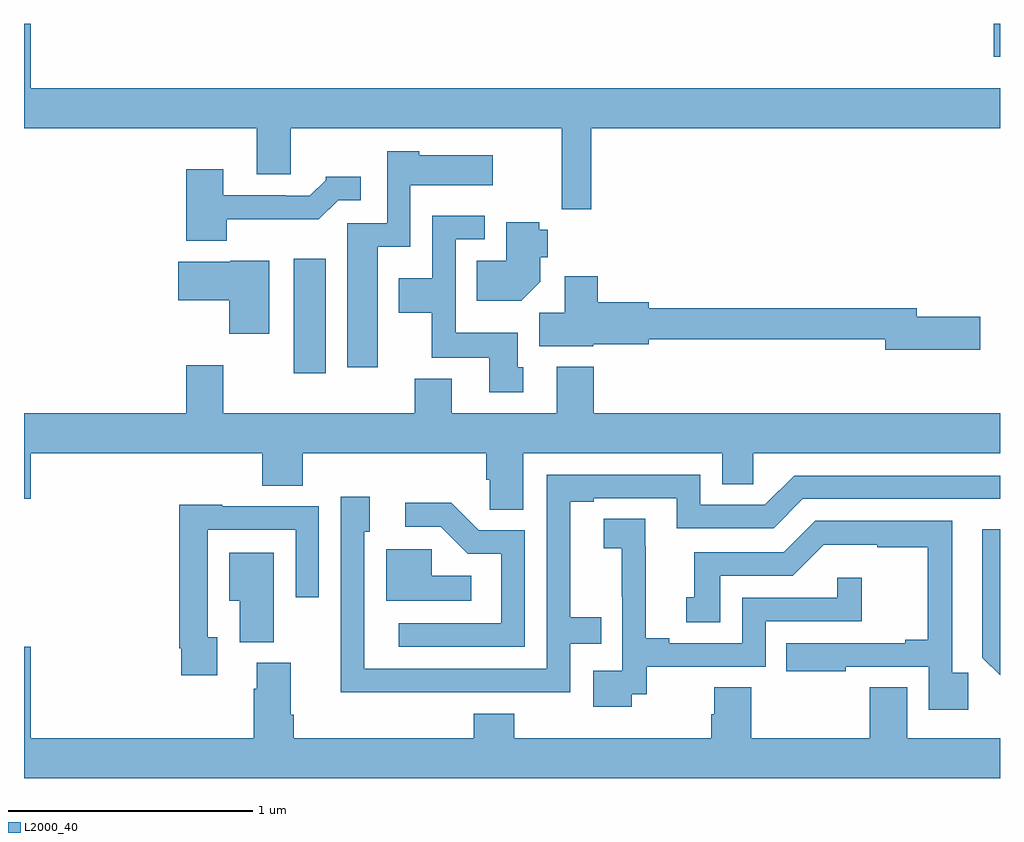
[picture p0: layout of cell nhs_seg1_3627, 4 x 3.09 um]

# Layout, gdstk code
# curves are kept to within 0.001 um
import gdstk
lib = gdstk.Library(unit=1e-6, precision=1e-09)
def R(c, l, rs):  # rectangles x0, y0, x1, y1
    for r in rs: c.add(gdstk.rectangle(r[:2], r[2:], *l))
def P(c, l, *ps):  # polygons
    for p in ps: c.add(gdstk.Polygon(p, *l))
L2000_40 = (2000, 40)

nhs_seg1_3627 = lib.new_cell('nhs_seg1_3627')
R(nhs_seg1_3627, L2000_40, [(310.106,510.768,310.237,511.237), (312.974,512.064,313,512.199)])
P(nhs_seg1_3627, L2000_40, [(311.324,511.772),(313,511.772),(313,511.936),(309.028,511.936),(309.028,512.199),(309,512.199),(309,511.772),(309.953,511.772),(309.953,511.582),(310.093,511.582),(310.093,511.772),(311.203,511.772),(311.203,511.44),(311.324,511.44)],
  [(310.45,511.286),(310.584,511.286),(310.584,511.538),(310.921,511.538),(310.921,511.66),(310.62,511.66),(310.62,511.678),(310.488,511.678),(310.488,511.383),(310.325,511.383),(310.325,510.792),(310.45,510.792)],
  [(309.83,511.398),(310.209,511.398),(310.287,511.476),(310.381,511.476),(310.381,511.573),(310.236,511.573),(310.236,511.558),(310.172,511.494),(310.073,511.494),(310.073,511.497),(309.817,511.497),(309.817,511.603),(309.665,511.603),(309.665,511.31),(309.83,511.31)],
  [(311.047,510.792),(311.023,510.792),(311.023,510.934),(310.77,510.934),(310.77,511.317),(310.888,511.317),(310.888,511.413),(310.674,511.413),(310.674,511.156),(310.535,511.156),(310.535,511.016),(310.672,511.016),(310.672,510.83),(310.907,510.83),(310.907,510.69),(311.047,510.69)],
  [(311.116,511.142),(311.116,511.242),(311.147,511.242),(311.147,511.356),(311.112,511.356),(311.112,511.386),(310.976,511.386),(310.976,511.228),(310.855,511.228),(310.855,511.064),(311.038,511.064)],
  [(310.006,511.228),(309.846,511.228),(309.846,511.225),(309.633,511.225),(309.633,511.067),(309.842,511.067),(309.842,510.93),(310.006,510.93)],
  [(312.919,510.998),(312.658,510.998),(312.658,511.034),(311.56,511.034),(311.56,511.058),(311.351,511.058),(311.351,511.165),(311.216,511.165),(311.216,511.016),(311.111,511.016),(311.111,510.878),(311.334,510.878),(311.334,510.887),(311.56,510.887),(311.56,510.906),(312.53,510.906),(312.53,510.863),(312.919,510.863)],
  [(311.047,510.44),(311.861,510.44),(311.861,510.313),(311.988,510.313),(311.988,510.44),(313,510.44),(313,510.604),(311.336,510.604),(311.336,510.793),(311.183,510.793),(311.183,510.604),(310.753,510.604),(310.753,510.745),(310.601,510.745),(310.601,510.604),(309.817,510.604),(309.817,510.799),(309.665,510.799),(309.665,510.604),(309,510.604),(309,510.252),(309.028,510.252),(309.028,510.44),(309.977,510.44),(309.977,510.307),(310.142,510.307),(310.142,510.44),(310.895,510.44),(310.895,510.331),(310.908,510.331),(310.908,510.208),(311.047,510.208)],
  [(310.76,509.46),(311.238,509.46),(311.238,509.658),(311.366,509.658),(311.366,509.767),(311.239,509.767),(311.239,510.24),(311.335,510.24),(311.335,510.255),(311.676,510.255),(311.676,510.132),(312.072,510.132),(312.192,510.252),(313,510.252),(313,510.348),(312.156,510.348),(312.036,510.228),(311.772,510.228),(311.772,510.351),(311.142,510.351),(311.142,509.556),(310.395,509.556),(310.395,510.117),(310.417,510.117),(310.417,510.262),(310.299,510.262),(310.298,509.459)],
  [(311.052,510.123),(310.863,510.123),(310.75,510.236),(310.563,510.236),(310.563,510.138),(310.707,510.138),(310.818,510.027),(310.956,510.027),(310.956,509.742),(310.536,509.742),(310.536,509.646),(311.052,509.646)],
  [(309.793,509.685),(309.753,509.685),(309.753,510.126),(310.113,510.126),(310.113,509.85),(310.209,509.85),(310.209,510.222),(309.813,510.222),(309.813,510.229),(309.637,510.229),(309.637,509.641),(309.645,509.641),(309.645,509.529),(309.793,509.529)],
  [(311.49,509.451),(311.552,509.451),(311.552,509.565),(312.039,509.565),(312.039,509.751),(312.434,509.751),(312.434,509.929),(312.333,509.929),(312.333,509.847),(311.943,509.847),(311.943,509.661),(311.644,509.661),(311.644,509.681),(311.548,509.681),(311.548,510.059),(311.546,510.059),(311.546,510.17),(311.376,510.17),(311.376,510.049),(311.45,510.049),(311.45,509.851),(311.451,509.851),(311.451,509.547),(311.334,509.547),(311.334,509.4),(311.49,509.4)],
  [(312.869,509.539),(312.804,509.539),(312.804,510.162),(312.243,510.162),(312.114,510.033),(311.747,510.033),(311.747,509.85),(311.714,509.85),(311.714,509.746),(311.854,509.746),(311.854,509.937),(312.15,509.937),(312.278,510.065),(312.497,510.065),(312.497,510.054),(312.703,510.054),(312.703,509.674),(312.611,509.674),(312.611,509.661),(312.124,509.661),(312.124,509.546),(312.367,509.546),(312.367,509.565),(312.708,509.565),(312.708,509.388),(312.869,509.388)],
  [(313,510.127),(312.927,510.127),(312.927,509.602),(313,509.529)],
  [(310.834,509.938),(310.671,509.938),(310.671,510.045),(310.484,510.045),(310.484,509.834),(310.834,509.834)],
  [(310.024,510.031),(309.842,510.031),(309.842,509.834),(309.884,509.834),(309.884,509.665),(310.024,509.665)],
  [(313,509.272),(312.619,509.272),(312.619,509.48),(312.467,509.48),(312.467,509.272),(311.981,509.272),(311.981,509.48),(311.828,509.48),(311.828,509.37),(311.816,509.37),(311.816,509.272),(311.009,509.272),(311.009,509.371),(310.844,509.371),(310.844,509.272),(310.106,509.272),(310.106,509.368),(310.093,509.368),(310.093,509.58),(309.953,509.58),(309.953,509.474),(309.941,509.474),(309.941,509.272),(309.028,509.272),(309.028,509.647),(309,509.647),(309,509.108),(313,509.108)])

lib.write_gds('nhs_seg1_3627.gds')
